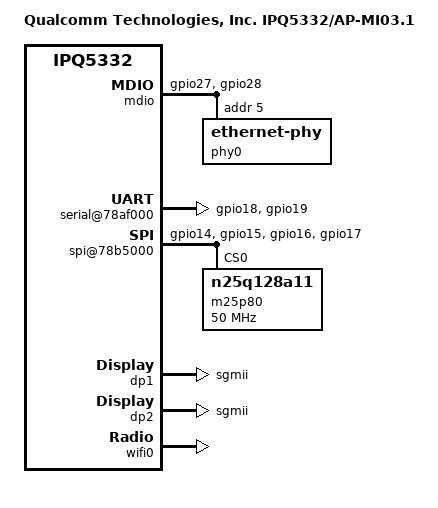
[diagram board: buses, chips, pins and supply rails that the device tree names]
// SPDX-License-Identifier: (GPL-2.0+ OR BSD-3-Clause)
/*
 * IPQ5332 AP-MI03.1 board device tree source
 *
 * Copyright (c) 2020-2021 The Linux Foundation. All rights reserved.
 * Copyright (c) 2022-2023 Qualcomm Innovation Center, Inc. All rights reserved.
 */

/dts-v1/;

#include "ipq5332.dtsi"
#include "ipq5332-memory.dtsi"

/ {
	#address-cells = <0x2>;
	#size-cells = <0x2>;
	model = "Qualcomm Technologies, Inc. IPQ5332/AP-MI03.1";
	compatible = "qcom,ipq5332-ap-mi03.1", "qcom,ipq5332";
	interrupt-parent = <&intc>;

	aliases {
		serial0 = &blsp1_uart0;
		ethernet0 = "/soc/dp1";
		ethernet1 = "/soc/dp2";
	};

	chosen {
		stdout-path = "serial0";
		bootargs-append = " clk_ignore_unused";
	};

	soc {
		pinctrl@1000000 {
			spi_0_pins: spi0-pinmux {
				spi_clock {
					pins = "gpio14";
					function = "blsp0_spi";
					drive-strength = <2>;
					bias-pull-down;
				};

				spi_mosi {
					pins = "gpio15";
					function = "blsp0_spi";
					drive-strength = <2>;
					bias-pull-down;
				};

				spi_miso {
					pins = "gpio16";
					function = "blsp0_spi";
					drive-strength = <2>;
					bias-pull-down;
				};

				spi_cs {
					pins = "gpio17";
					function = "blsp0_spi";
					drive-strength = <2>;
					bias-pull-up;
				};
			};

			serial_0_pins: serial0-pinmux {
				pins = "gpio18", "gpio19";
				function = "blsp0_uart0";
				drive-strength = <8>;
				bias-pull-up;
			};

			mdio1_pins: mdio_pinmux {
				mux_0 {
					pins = "gpio27";
					function = "mdc1";
					drive-strength = <2>;
					bias-pull-up;
				};
				mux_1 {
					pins = "gpio28";
					function = "mdio1";
					drive-strength = <2>;
					bias-pull-up;
				};
			};
		};

		mdio:mdio@90000 {
			status = "ok";
			pinctrl-0 = <&mdio1_pins>;
			pinctrl-names = "default";
			/*gpio31 for 8033 reset, gpio22 for s17c reset*/
			phy-reset-gpio = <&tlmm 31 0 &tlmm 22 0>;
			force_clause22; /* force MDIO bus to use clause22 because of S17C */
			phy0: ethernet-phy@0 {
				reg = <5>;
			};
		};

		ess-instance {
			num_devices = <0x2>;
			ess-switch@3a000000 {
				switch_cpu_bmp = <0x1>;  /* cpu port bitmap */
				switch_lan_bmp = <0x2>; /* lan port bitmap */
				switch_wan_bmp = <0x4>; /* wan port bitmap */
				switch_mac_mode = <0xf>; /* mac mode for uniphy instance0*/
				switch_mac_mode1 = <0xf>; /* mac mode for uniphy instance1*/
				switch_mac_mode2 = <0xff>; /* mac mode for uniphy instance2*/
				qcom,port_phyinfo {
					port@0 {
						port_id = <1>;
						forced-speed = <1000>;
						forced-duplex = <1>;
					};
					port@1 {
						port_id = <2>;
						phy_address = <5>;
						mdiobus = <&mdio>;
					};
				};
			};

			ess-switch1@1 {
				compatible = "qcom,ess-switch-qca83xx";
				device_id = <1>;
				switch_access_mode = "mdio";
				mdio-bus = <&mdio>;
				reset_gpio = <&tlmm 22 0>;
				switch_cpu_bmp = <0x1>;  /* cpu port bitmap */
				switch_lan_bmp = <0x38>; /* lan port bitmap */
				switch_wan_bmp = <0x0>;  /* wan port bitmap */
				link-polling-required = <0>;
				link-intr-gpio = <&tlmm 24 0>;
				qca,ar8327-initvals = <
						0x00004 0x80        /* PAD0_MODE */
						0x00008 0           /* PAD5_MODE */
						0x0000c 0           /* PAD6_MODE */
						0x00010 0x2613a0    /* PORT0 FORCE MODE*/
						0x000e4 0xaa545     /* MAC_POWER_SEL */
						0x000e0 0xc74164de  /* SGMII_CTRL */
						0x0007c 0x4e        /* PORT0_STATUS */
						0x00094 0           /* PORT6_STATUS */
				>;
				qcom,port_phyinfo {
					port@3 {
						port_id = <3>;
						phy_address = <2>;
					};
					port@4 {
						port_id = <4>;
						phy_address = <3>;
					};
					port@5 {
						port_id = <5>;
						phy_address = <4>;
					};
				};
			};
		};

		serial@78af000 {
			pinctrl-0 = <&serial_0_pins>;
			pinctrl-names = "default";
			status = "ok";
		};

		spi@78b5000 {
			pinctrl-0 = <&spi_0_pins>;
			pinctrl-names = "default";
			cs-select = <0>;
			status = "ok";

			m25p80@0 {
				compatible = "n25q128a11";
				#address-cells = <1>;
				#size-cells = <1>;
				reg = <0>;
				spi-max-frequency = <50000000>;
			};
		};

		q6v5_wcss: remoteproc@d100000 {
			memory-region = <&q6_region>;
		};

		/delete-node/ tmc@4048000;
		/delete-node/ replicator@4046000;
		/delete-node/ etf@4047000;
		/delete-node/ funnel@4045000;
		/delete-node/ funnel@4041000;
		/delete-node/ funnel@4042000;
		/delete-node/ stm@4002000;
		/delete-node/ funnel@50a1000;
		/delete-node/ etm@509c000;
		/delete-node/ etm@509d000;
		/delete-node/ etm@509e000;
		/delete-node/ etm@509f000;

		dp1 {
			device_type = "network";
			compatible = "qcom,nss-dp";
			qcom,id = <2>;
			reg = <0x3a001200 0x200>;
			qcom,mactype = <0>;
			local-mac-address = [000000000000];
			mdio-bus = <&mdio>;
			qcom,phy-mdio-addr = <5>;
			qcom,link-poll = <1>;
			phy-mode = "sgmii";
		};

		dp2 {
			device_type = "network";
			compatible = "qcom,nss-dp";
			qcom,id = <1>;
			reg = <0x3a001000 0x200>;
			qcom,mactype = <0>;
			local-mac-address = [000000000000];
			phy-mode = "sgmii";
			qcom,mht-dev = <1>;
			qcom,is_switch_connected = <1>;
		};

		/* EDMA host driver configuration for the board */
		edma@3ab00000 {
			qcom,txdesc-ring-start = <4>;		/* Tx desc ring start ID */
			qcom,txdesc-rings = <12>;		/* Total number of Tx desc rings to be provisioned */
			qcom,mht-txdesc-rings = <8>;            /* Extra Tx desc rings to be provisioned for MHT SW ports. */
			qcom,txcmpl-ring-start = <4>;		/* Tx complete ring start ID */
			qcom,txcmpl-rings = <12>;		/* Total number of Tx complete rings to be provisioned */
			qcom,mht-txcmpl-rings = <8>;            /* Extra Tx complete rings to be provisioned for mht sw ports. */
			qcom,rxfill-ring-start = <4>;		/* Rx fill ring start ID */
			qcom,rxfill-rings = <4>;		/* Total number of Rx fill rings to be provisioned */
			qcom,rxdesc-ring-start = <12>;		/* Rx desc ring start ID */
			qcom,rxdesc-rings = <4>;		/* Total number of Rx desc rings to be provisioned */
			qcom,rx-page-mode = <0>;		/* Rx fill ring page mode */
			qcom,tx-map-priority-level = <1>;	/* Tx priority level per port */
			qcom,rx-map-priority-level = <1>;	/* Rx priority level per core */
			qcom,ppeds-num = <2>;			/* Number of PPEDS nodes */
			/* PPE-DS node format: <Rx-fill Tx-cmpl Rx Tx Queue-base Queue-count> */
			qcom,ppeds-map = <1 1 1 1 32 8>,	/* PPEDS Node #1 ring and queue map */
					<2 2 2 2 40 8>;		/* PPEDS Node #2 ring and queue map */
			qcom,txdesc-map = <8 9 10 11>,		/* Port0 per-core Tx ring map */
					  <12 13 14 15>,	/* MHT-Port1 per-core Tx ring map */
					  <4 5 6 7>,            /* MHT-Port2 per-core Tx ring map/packets from  vp*/
					  <16 17 18 19>,        /* MHT-Port3 per-core Tx ring map */
					  <20 21 22 23>;        /* MHT-Port4 per-core Tx ring map */
			qcom,txdesc-fc-grp-map = <1 2 3 4 5>;   /* Per GMAC flow control group map */
			qcom,rxfill-map = <4 5 6 7>;		/* Per-core Rx fill ring map */
			qcom,rxdesc-map = <12 13 14 15>;	/* Per-core Rx desc ring map */
			qcom,rx-queue-start = <0>;		/* Rx queue start */
			qcom,rx-ring-queue-map = <0 8 16 24>,	/* Priority 0 queues per-core Rx ring map */
						<1 9 17 25>,	/* Priority 1 queues per-core Rx ring map */
						<2 10 18 26>,	/* Priority 2 queues per-core Rx ring map */
						<3 11 19 27>,	/* Priority 3 queues per-core Rx ring map */
						<4 12 20 28>,	/* Priority 4 queues per-core Rx ring map */
						<5 13 21 29>,	/* Priority 5 queues per-core Rx ring map */
						<6 14 22 30>,	/* Priority 6 queues per-core Rx ring map */
						<7 15 23 31>;	/* Priority 7 queues per-core Rx ring map */
			interrupts = <0 163 4>,			/* Tx complete ring id #4 IRQ info */
				   <0 164 4>,			/* Tx complete ring id #5 IRQ info */
				   <0 165 4>,			/* Tx complete ring id #6 IRQ info */
				   <0 166 4>,			/* Tx complete ring id #7 IRQ info */
				   <0 167 4>,			/* Tx complete ring id #8 IRQ info */
				   <0 168 4>,			/* Tx complete ring id #9 IRQ info */
				   <0 169 4>,			/* Tx complete ring id #10 IRQ info */
				   <0 170 4>,			/* Tx complete ring id #11 IRQ info */
				   <0 171 4>,			/* Tx complete ring id #12 IRQ info */
				   <0 172 4>,			/* Tx complete ring id #13 IRQ info */
				   <0 173 4>,			/* Tx complete ring id #14 IRQ info */
				   <0 174 4>,			/* Tx complete ring id #15 IRQ info */
				   <0 139 4>,			/* Rx desc ring id #12 IRQ info */
				   <0 140 4>,			/* Rx desc ring id #13 IRQ info */
				   <0 141 4>,			/* Rx desc ring id #14 IRQ info */
				   <0 142 4>,			/* Rx desc ring id #15 IRQ info */
				   <0 191 4>,			/* Misc error IRQ info */
				<0 160 4>,			/* PPEDS Node #1(TxComp ring id #1) TxComplete IRQ info */
				<0 128 4>,			/* PPEDS Node #1(Rx Desc ring id #1) Rx Desc IRQ info */
				<0 152 4>,			/* PPEDS Node #1(RxFill Desc ring id #1) Rx Fill IRQ info */
				<0 161 4>,			/* PPEDS Node #2(TxComp ring id #2) TxComplete IRQ info */
				<0 129 4>,			/* PPEDS Node #2(Rx Desc ring id #2) Rx Desc IRQ info */
				<0 153 4>,			/* PPEDS Node #2(RxFill Desc ring id #2) Rx Fill IRQ info */
				   <0 175 4>,			/* MHT port Tx complete ring id #16 IRQ info */
				   <0 176 4>,			/* MHT port Tx complete ring id #17 IRQ info */
				   <0 177 4>,			/* MHT port Tx complete ring id #18 IRQ info */
				   <0 178 4>,			/* MHT port Tx complete ring id #19 IRQ info */
				   <0 179 4>,			/* MHT port Tx complete ring id #20 IRQ info */
				   <0 180 4>,			/* MHT port Tx complete ring id #21 IRQ info */
				   <0 181 4>,			/* MHT port Tx complete ring id #22 IRQ info */
				   <0 182 4>;			/* MHT port Tx complete ring id #23 IRQ info */
		};
	};
};

&wifi0 {
	qcom,rproc = <&q6_wcss_pd1>;
	qcom,rproc_rpd = <&q6v5_wcss>;
	qcom,multipd_arch;
	qcom,userpd-subsys-name = "q6v5_wcss_userpd1";
	mem-region = <&q6_region>;
	qcom,board_id = <0x11>;
	status = "ok";
};
